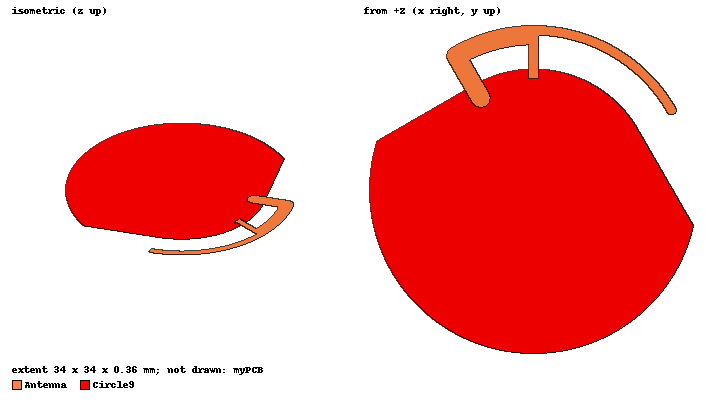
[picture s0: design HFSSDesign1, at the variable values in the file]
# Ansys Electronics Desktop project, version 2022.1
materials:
  vacuum: permittivity=1

design HFSSDesign1 (HFSS, DrivenTerminal, model units mm)
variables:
  PCBHeight = 1.6mm
  RPCB = 17.5mm
  WAnt = 1mm
  thAnt = 60deg
  WGnd = 2mm
  thGND = 30deg
  InTraceWidth = -1mm
  InTraceLength = -5mm
  InTraceHeigh = 0.36mm
  GNDTraceLength = -5mm
  Dgnd = 5mm
  DgndVia = 0.125mm
  gndDepth = -0.36mm
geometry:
  myPCB [vacuum] = cylinder(axis=Z, base_centre=(0mm, 0mm, 0mm), radius=RPCB, height=-PCBHeight)
  Antenna = circle(normal=Z, centre=(0mm, 0mm, 0mm), radius=RPCB-0.5mm)
  Circle2 = circle(normal=Z, centre=(0mm, 0mm, 0mm), radius=RPCB-0.5mm-WAnt)
  Antenna.subtract(Circle2)
  Antenna.split(plane=YZ, keep=PositiveOnly)
  Antenna.rotate(axis=Z, angle=thAnt)
  Antenna.split(plane=YZ, keep=NegativeOnly)
  Antenna.rotate(axis=Z, angle=-thAnt)
  topGND = circle(normal=Z, centre=(0mm, 0mm, 0mm), radius=RPCB-0.5mm)
  Circle4 = circle(normal=Z, centre=(0mm, 0mm, 0mm), radius=RPCB-0.5mm-WGnd)
  topGND.subtract(Circle4)
  topGND.split(plane=YZ, keep=PositiveOnly)
  topGND.rotate(axis=Z, angle=thGND)
  topGND.split(plane=YZ, keep=NegativeOnly)
  Circle5 = circle(normal=Z, centre=(0mm, 16.5mm, 0mm), radius=WAnt/2)
  Circle5.rotate(axis=Z, angle=-thAnt)
  InTrace = rectangle(corner=(-InTraceWidth/2, RPCB-0.5mm-WAnt/2, 0mm), x_size=InTraceWidth, y_size=InTraceLength)
  GNDTrace = rectangle(corner=(-WGnd/2, RPCB-0.5mm-WGnd/2, 0mm), x_size=WGnd, y_size=GNDTraceLength)
  GNDTrace.rotate(axis=Z, angle=thGnd)
  Circle6 = circle(normal=Z, centre=(0mm, RPCB-0.5 mm - WGnd/2, 0mm), radius=1mm)
  Circle6.rotate(axis=Z, angle=thGnd)
  Circle7 = circle(normal=Z, centre=(0mm, RPCB-0.5 mm - WGnd/2 + GNDTraceLength, 0mm), radius=1mm)
  Circle7.rotate(axis=Z, angle=thGnd)
  Antenna.unite(Circle5, Circle6, Circle7, GNDTrace, InTrace, topGND)
  Rectangle1 = rectangle(corner=(RPCB-Dgnd, 0mm, 0mm), x_size=-2*RPCB, y_size=-RPCB+0.5mm)
  Rectangle1.rotate(axis=Z, angle=thGnd)
  Rectangle2 = rectangle(corner=(RPCB+Dgnd, 0mm, 0mm), x_size=-2*RPCB, y_size=-RPCB+0.5mm)
  Rectangle2.rotate(axis=Z, angle=-thAnt)
  Circle8 = circle(normal=Z, centre=(0mm, 0mm, 0mm), radius=RPCB-Dgnd)
  Circle8.unite(Rectangle1, Rectangle2)
  Circle9 = circle(normal=Z, centre=(0mm, 0mm, 0mm), radius=RPCB-0.5mm)
  Circle9.intersect(Circle8)
  Circle9.move(0mm, 0mm, -0.36mm)
  Cylinder1 [vacuum] = cylinder(axis=Z, base_centre=(0mm, RPCB-0.5 mm - WGnd/2 + GNDTraceLength, 0mm), radius=DgndVia, height=gndDepth)
  Cylinder1.rotate(axis=Z, angle=thGnd)
  Rectangle3 = rectangle(corner=(-InTraceWidth/2, RPCB-0.5mm-WAnt/2+InTraceLength, 0mm), z_size=gndDepth, x_size=InTraceWidth)
